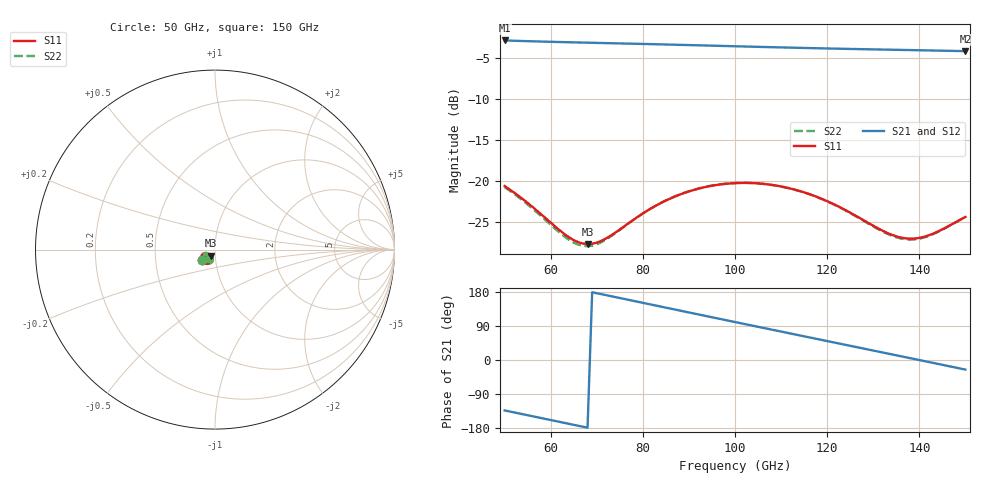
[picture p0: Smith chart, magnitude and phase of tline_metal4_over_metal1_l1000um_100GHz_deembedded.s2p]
! Created with skrf 2.2.0 (http://scikit-rf.org).
# GHz S DB R 50.0
! Port[1] = P1
! Port[2] = P2
!freq dBS11 angS11 dBS21 angS21 dBS12 angS12 dBS22 angS22
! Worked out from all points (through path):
!   101 points, 50 GHz to 150 GHz, reference 50 ohm
!   highest |S21| = -2.89 dB at 50 GHz (marker M1); lowest = -4.2 dB at 150 GHz (marker M2)
!   group delay of S21, straight-line fit = 7.01 ps
!   lowest |S11| = -27.7 dB at 68 GHz (marker M3), VSWR 1.09, Z = 47.6 - j3.22 ohm
!   |S11| at or under -10 dB: start of sweep to end of sweep
!   |S22| runs from -28.0 to -20.2 dB; largest |S21 - S12| = 7.8e-14
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50  -20.64 -140.3  -2.89 -133.1  -2.89 -133.1  -20.77 -140.5
55  -22.70 -146.1  -2.97 -145.7  -2.97 -145.7  -22.88 -146.2
59  -24.61 -146.5  -3.04 -155.9  -3.04 -155.9  -24.85 -146.4
64  -26.89 -138.4  -3.11 -168.5  -3.11 -168.5  -27.20 -137.6
67  -27.65 -128.5  -3.15 -176.1  -3.15 -176.1  -27.93 -127.0
68  -27.71 -124.8  -3.16 -178.7  -3.16 -178.7  -27.97 -123.1
71  -27.32 -114.5  -3.20 173.7  -3.20 173.7  -27.48 -112.4
76  -25.53 -104.9  -3.26 161.0  -3.26 161.0  -25.57 -103.0
84  -22.69 -106.6  -3.37 140.7  -3.37 140.7  -22.66 -105.4
92  -20.97 -117.2  -3.48 120.4  -3.48 120.4  -20.94 -116.3
96  -20.51 -123.7  -3.54 110.3  -3.54 110.3  -20.49 -122.9
100  -20.28 -130.5  -3.59 100.2  -3.59 100.2  -20.27 -129.8
104  -20.28 -137.2  -3.65 90.1  -3.65 90.1  -20.27 -136.6
108  -20.50 -143.7  -3.71 80.1  -3.71 80.1  -20.50 -143.1
112  -20.94 -149.7  -3.76 70.0  -3.76 70.0  -20.94 -149.2
117  -21.80 -156.1  -3.83 57.5  -3.83 57.5  -21.81 -155.7
126  -24.19 -161.5  -3.93 35.0  -3.93 35.0  -24.25 -161.1
134  -26.58 -152.8  -4.02 14.9  -4.02 14.9  -26.68 -152.1
138  -27.06 -142.9  -4.06 4.9  -4.06 4.9  -27.16 -141.8
141  -26.84 -135.1  -4.09 -2.6  -4.09 -2.6  -26.92 -133.9
145  -25.92 -127.4  -4.14 -12.7  -4.14 -12.7  -25.96 -126.1
150  -24.41 -123.5  -4.19 -25.3  -4.19 -25.3  -24.41 -122.2
